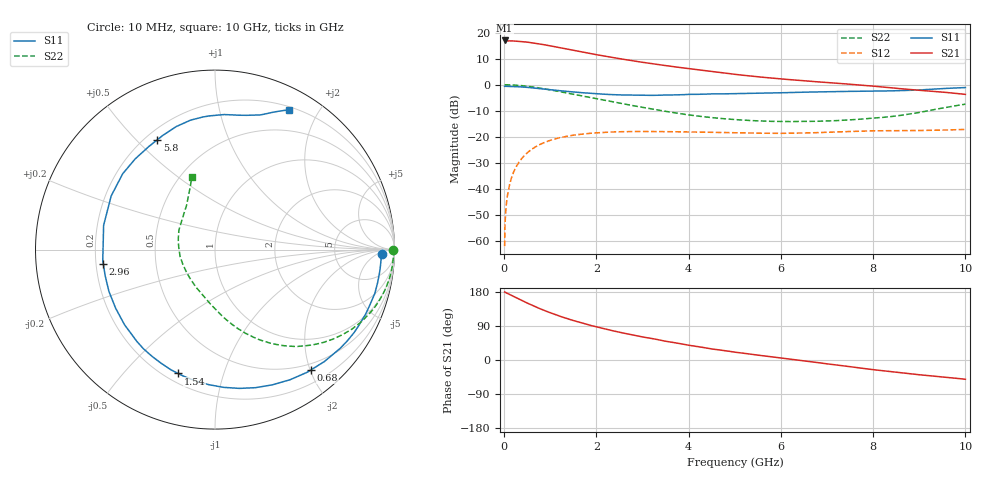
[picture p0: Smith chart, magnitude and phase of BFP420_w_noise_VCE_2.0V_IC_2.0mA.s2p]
! Infineon Technologies  Discrete & RF Semiconductors
! BFP420
! VCE =  2.0 V,  IC =  2.0 mA
! Common Emitter S-Parameters:  Jan 2016
# GHz  S  MA  R  50
!  f  S11  S21  S12  S22
! GHz  MAG  ANG  MAG  ANG  MAG  ANG  MAG  ANG
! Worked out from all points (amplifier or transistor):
!   233 points, 10 MHz to 10 GHz, reference 50 ohm
!   highest |S21| = 17.0 dB at 10 MHz (marker M1)
!   |S21| within 3 dB of that: start of sweep to 1.275 GHz
!   unconditionally stable (mu >= 1): 3.883 GHz to end of sweep
!   at 200 MHz: K = 0.03, MSG = 25.2 dB, |S12| = -33.7 dB
!   at 1.74 GHz: K = 0.37, MSG = 15.6 dB, |S12| = -18.8 dB
!   at 10 GHz: K = 1.23, MAG = 3.9 dB, |S12| = -17.2 dB
!   lowest NFmin = 0.53 dB at 900 MHz
!   S11 on the Smith chart (normalised r, x): 10 MHz: 24, -9; 680 MHz: 0.40, -2.01; 1.54 GHz: 0.25, -0.72; 2.96 GHz: 0.23, -0.06; 5.8 GHz: 0.25, +0.58; 10 GHz: 0.24, +1.63
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0.01  0.9295 -1.6  7.046 179.3  0.0008 66.6  0.9943 0.0
0.02  0.9288 -1.3  6.852 179.1  0.0022 91.3  0.995 -0.8
0.045  0.9274 -3.5  6.884 177.3  0.0049 88.6  0.9951 -2.0
0.165  0.9237 -12.7  6.908 170.1  0.017 82.8  0.9886 -7.5
0.42  0.8994 -32.2  6.668 154.9  0.042 71.5  0.9512 -18.7
0.68  0.8573 -51.5  6.229 140.4  0.0642 60.6  0.8876 -29.3
0.82  0.8325 -61.4  5.934 133.2  0.0744 55.3  0.848 -34.4
1.02  0.7976 -74.9  5.513 123.7  0.0868 48.3  0.7891 -41.2
1.24  0.7616 -88.9  5.056 114.2  0.0977 41.4  0.725 -47.8
1.54  0.7202 -106.6  4.491 102.7  0.1088 33.3  0.6438 -55.7
1.68  0.7027 -114.3  4.256 97.7  0.1127 29.9  0.6093 -59.0
1.9  0.6811 -125.9  3.908 90.5  0.1177 25.0  0.5587 -63.9
2.24  0.6515 -142.1  3.454 80.4  0.1228 18.5  0.4903 -70.5
2.6  0.6353 -158.5  3.053 70.6  0.1257 12.4  0.4262 -77.3
2.96  0.6275 -172.9  2.718 61.9  0.1265 7.3  0.373 -83.7
3.4  0.6288 171.2  2.387 52.0  0.1259 2.3  0.3187 -91.9
4.5  0.6656 140.6  1.784 29.2  0.1221 -6.6  0.2337 -117.4
5.1  0.6738 129.6  1.543 19.3  0.1193 -9.2  0.2114 -131.7
5.8  0.691 117.8  1.338 8.4  0.117 -10.9  0.198 -149.7
6.8  0.7266 103.4  1.133 -6.9  0.1204 -12.3  0.1988 -176.4
8.4  0.7609 79.7  0.868 -31.1  0.1311 -19.3  0.2451 139.3
10  0.8804 62.2  0.652 -50.8  0.1386 -24.1  0.4233 107.7
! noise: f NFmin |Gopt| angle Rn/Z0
0.9  0.53  0.47  33  0.22
1.8  1.03  0.29  77  0.17
2.4  1.13  0.31  102  0.16
3  1.32  0.31  136  0.12
4  1.57  0.37  -168  0.1
5  1.96  0.42  -129  0.28
6  2.72  0.51  -111  0.37
